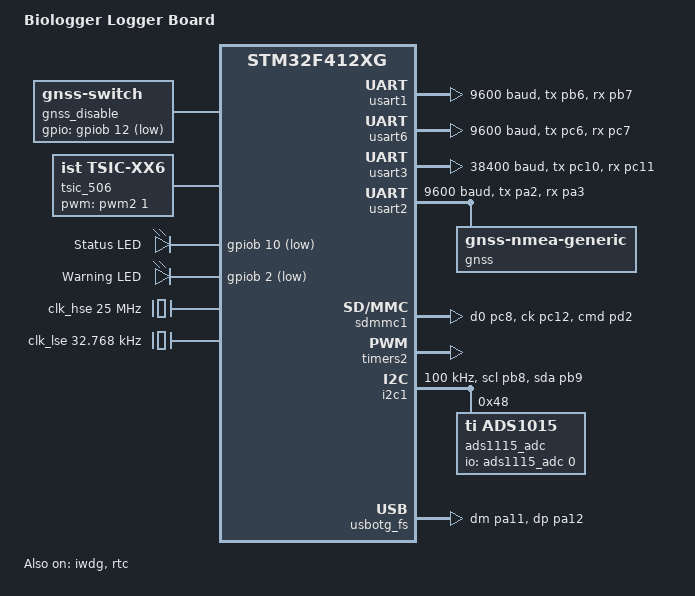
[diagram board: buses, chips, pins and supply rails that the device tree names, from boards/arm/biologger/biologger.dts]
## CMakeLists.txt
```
cmake_minimum_required(VERSION 3.20.0)

find_package(Zephyr REQUIRED HINTS $ENV{ZEPHYR_BASE})
project(floggy)

# Add your .c source files in this list.
target_sources(app PRIVATE src/main.c
                           src/observer.c
                           src/trutime.c
                           src/storage.c
                           src/experiment.c
                           # TODO(markovejnovic) Following 3 are hacks. The
                           # cmake spec should be in the ximpedance cmakelists
                           # but I can't get it to link.
                           drivers/sensor/ximpedance_amp/ximpedance_amp.c
                           drivers/sensor/ximpedance_amp/v2i_ximpedance22x_lut.c
                           drivers/sensor/ximpedance_amp/v2i_ximpedance10x_lut.c)

target_include_directories(app PRIVATE drivers)

add_subdirectory(drivers)
```

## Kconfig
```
mainmenu "Biologger Config"

source "Kconfig.zephyr"
rsource "drivers/Kconfig"
```

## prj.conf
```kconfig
CONFIG_ADC=y
CONFIG_ADC_ADS1X1X=y
CONFIG_CLOCK_CONTROL=y
CONFIG_DISK_ACCESS=y
CONFIG_DISK_DRIVER_SDMMC=y
CONFIG_DYNAMIC_THREAD=y
CONFIG_FAT_FILESYSTEM_ELM=y
CONFIG_FILE_SYSTEM=y
CONFIG_FPU=y
CONFIG_FS_FATFS_LFN=y
CONFIG_GNSS=y
CONFIG_GNSS_NMEA_GENERIC=y
CONFIG_GPIO=y
CONFIG_HEAP_MEM_POOL_SIZE=65536
CONFIG_HW_STACK_PROTECTION=y
CONFIG_I2C=y
CONFIG_LOG=y
CONFIG_MAIN_STACK_SIZE=16384
CONFIG_NEWLIB_LIBC=y
CONFIG_NEWLIB_LIBC_FLOAT_PRINTF=y
CONFIG_PRINTK=y
CONFIG_PWM=y
CONFIG_PWM_CAPTURE=y
CONFIG_RTC=y
CONFIG_SDMMC_STACK=y
CONFIG_SDMMC_STM32_CLOCK_CHECK=n
CONFIG_SENSOR=y
CONFIG_SERIAL=y
CONFIG_STACK_CANARIES=y
CONFIG_SYS_HEAP_INFO=y
CONFIG_SYS_HEAP_RUNTIME_STATS=y
CONFIG_TSIC_XX6=y
CONFIG_UART_INTERRUPT_DRIVEN=y

# Modules
CONFIG_XIMPEDANCE_AMP=y

# Debugging Flags
CONFIG_DEBUG=y
CONFIG_FILE_SYSTEM_SHELL=y
CONFIG_RTC_SHELL=y
CONFIG_SHELL=y
CONFIG_THREAD_ANALYZER=y
```

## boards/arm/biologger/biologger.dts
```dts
/*
 * Copyright (c) 2024 Marko Vejnovic
 *
 * SPDX-License-Identifier: Apache-2.0
 */

/dts-v1/;
#include <st/f4/stm32f412Xg.dtsi>
#include <st/f4/stm32f412r(e-g)tx-pinctrl.dtsi>

/ {
    model = "Biologger Logger Board";
    compatible = "markovejnovic,biologger";

	chosen {
		zephyr,console = &usart3;
		zephyr,shell-uart = &usart3;
		zephyr,sram = &sram0;
		zephyr,flash = &flash0;
	};

    gnss_disable: gnss_disable {
        compatible = "gnss-switch";
        gpios = <&gpiob 12 GPIO_ACTIVE_LOW>;
        status = "okay";
    };

    tsic_506: tsic_506 {
        status = "okay";
        compatible = "ist,tsic-xx6";
        pwms = <&pwm2 1 PWM_USEC(5) PWM_POLARITY_NORMAL>;
        data-bits = <11>;
        lower-temperature-limit = <(-10)>;
        higher-temperature-limit = <60>;
    };

    leds: leds {
        compatible = "gpio-leds";

        status_led: led_0 {
            gpios = <&gpiob 10 GPIO_ACTIVE_LOW>;
            label = "Status LED";
            status = "okay";
        };

        warning_led: led_1 {
            gpios = <&gpiob 2 GPIO_ACTIVE_LOW>;
            label = "Warning LED";
            status = "okay";
        };
    };

    ximpedance_amp: ximpedance_amp {
        compatible = "ximpedance_amp";
        status = "okay";
        adc = <&ads1115_adc>;
    };

    aliases {
        board-usart-1 = &usart1;
        board-usart-2 = &usart6;
        board-usart-3 = &usart3;
        trutime-clock = &rtc;
    };
};

&clk_hse {
	/delete-property/ hse-bypass;
	clock-frequency = <DT_FREQ_M(25)>; // External 25MHz clock.
	status = "okay";
};

&clk_lse {
    /delete-property/ lse-bypass;
    clock-frequency = <32768>; // External 32.768kHz clock.
    status = "okay";
};

&pll {
	div-m = <25>;
	mul-n = <384>;
    // TODO(markovejnovic): This could, in theory be bumped up to 4 to help
    // boost the APB2 clock domain, but causes the SDMMC clock to be unusable.
    // That cock should be moved to the PLL48CLK domain.
	div-p = <8>;
	div-q = <8>;
	clocks = <&clk_hse>;
	status = "okay";
};

&rcc {
	clocks = <&clk_hse>;
    // Under no circumustance can you change SYSCLK to be anything greater than
    // 25MHz. As it stands, the SDIO lines are very poorly designed and cannot
    // withstand this high frequency. Even 25MHz is too much and I don't know
    // how to fix it.
	clock-frequency = <DT_FREQ_M(25)>;
	ahb-prescaler = <1>;
	apb1-prescaler = <2>;
    // Note that the APB2 clock domain should NOT be very high. The board
    // layout is not good enough to support 50MHz on the SDIO lines.
	apb2-prescaler = <8>;
};

&iwdg {
    status = "okay";
};

&usart1 {
	pinctrl-0 = <&usart1_tx_pb6 &usart1_rx_pb7>;
	pinctrl-names = "default";
	current-speed = <9600>;
	status = "okay";
};

&usart6 {
	pinctrl-0 = <&usart6_tx_pc6 &usart6_rx_pc7>;
	pinctrl-names = "default";
	current-speed = <9600>;
	status = "okay";
};

&usart3 {
	pinctrl-0 = <&usart3_tx_pc10 &usart3_rx_pc11>;
	pinctrl-names = "default";
	current-speed = <38400>;
	status = "okay";
};

&usart2 {
	pinctrl-0 = <&usart2_tx_pa2 &usart2_rx_pa3>;
	pinctrl-names = "default";
	current-speed = <9600>;
	status = "okay";

    gnss: gnss-nmea-generic {
        compatible = "gnss-nmea-generic";
    };
};

&sdmmc1 {
    pinctrl-0 = <&sdio_d0_pc8 &sdio_ck_pc12 &sdio_cmd_pd2>;
    pinctrl-names = "default";
    status = "okay";
};

&rtc {
	clocks = <&rcc STM32_CLOCK_BUS_APB1 0x10000000>,
		 <&rcc STM32_SRC_LSE RTC_SEL(1)>;
	status = "okay";
};

&timers2 {
	status = "okay";

	pwm2: pwm {
		status = "okay";
		pinctrl-0 = <&tim2_ch1_pa0>;
		pinctrl-names = "default";
	};
};

&i2c1 {
	pinctrl-0 = <&i2c1_scl_pb8 &i2c1_sda_pb9>;
	pinctrl-names = "default";
	status = "okay";
	clock-frequency = <I2C_BITRATE_STANDARD>;

    ads1115_adc: ads1115_adc@48 {
        status = "okay";
        compatible = "ti,ads1015";
		reg = <0x48>;
		#io-channel-cells = <1>;
		#address-cells = <1>;
		#size-cells = <0>;

        io-channels = <&ads1115_adc 0>;
        io-channel-names = "A0";

		channel@0 {
			reg = <0>;
			zephyr,gain = "ADC_GAIN_1";
			zephyr,reference = "ADC_REF_INTERNAL";
			zephyr,acquisition-time = <ADC_ACQ_TIME_DEFAULT>;
            zephyr,resolution = <11>;
		};
    };
};

zephyr_udc0: &usbotg_fs {
	pinctrl-0 = <&usb_otg_fs_dm_pa11 &usb_otg_fs_dp_pa12>;
	pinctrl-names = "default";
	status = "okay";
};
```

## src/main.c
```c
/*
 * Copyright (c) 2024 Marko Vejnovic
 *
 * SPDX-License-Identifier: Apache-2.0
 *
 * @detail
 * Hello! This module is the main entrypoint of the biologger firmware. It is
 * in this file that you should most likely attempt to perform your work. If
 * you are only attempting to add new columns/rows, please have a look at
 * declare_columns and collect_data_10hz.
 */
#include <sys/_timespec.h>
#include <zephyr/kernel.h>
#include <zephyr/logging/log.h>
#include <zephyr/logging/log_ctrl.h>
#include <zephyr/drivers/uart.h>
#include <zephyr/shell/shell.h>
#include "experiment.h"
#include "observer.h"
#include <zephyr/device.h>
#include "trutime.h"
#include "storage.h"
#include <zephyr/drivers/sensor.h>
#include <zephyr/drivers/adc.h>
#include "sensor/ximpedance_amp/ximpedance_amp.h"
#include <zephyr/sys/printk.h>
#include <zephyr/sys/util.h>
#include <zephyr/drivers/sensor.h>

#define SAMPLING_PERIOD_MS 100

LOG_MODULE_REGISTER(main);

OBSERVER_DECL(main_observer);
TRUTIME_DECL(time_provider);

/******************************************************************************
 * Devices Used On The Board
 *****************************************************************************/
static const struct device* ximpedance_amp =
    DEVICE_DT_GET(DT_NODELABEL(ximpedance_amp));

/******************************************************************************
 * Static Variables Used In This Module
 *****************************************************************************/
static size_t collection_counter = 0;

/**
 * @brief Initialize drivers required for the operation of the application.
 */
static int init_drivers() {
    int err = 0; // 0 means no error :)

    if (!device_is_ready(ximpedance_amp)) {
        LOG_ERR("Failed to initialize the transimpedance driver.");
        err = -ENODEV;
    }

    return err;
}

/**
 * @brief Define all the columns that are collected.
 *
 * This function must only contain calls to experiment_add_column.
 */
static void declare_columns(struct experiment* e) {
    //                           Column Name              Units
    experiment_add_column(e,     "Current 22KX 1",        "mA");
    experiment_add_column(e,     "Current 22KX 2",        "mA");
    experiment_add_column(e,     "Current 10KX 1",        "mA");
    experiment_add_column(e,     "Current 10KX 2",        "mA");
}

/**
 * @brief Perform all data collection.
 *
 * This function must only contain calls to experiment_row_add_value.
 *
 * @warning There must be as many calls to experiment_row_add_value as there
 *          are to experiment_add_column in declare_columns.
 */
static int collect_data_10hz(struct experiment_row* r) {
    int err = 0; // 0 means no error :)
    
    if ((err = sensor_sample_fetch(ximpedance_amp)) != 0) {
        LOG_ERR("Failed to sample the results from the transimpedance "
                "amplifier (%d).", err);
    }

    static const enum ximpedance_amp_sensor_channel
    ximpedance_amp_channels[] = {
        XIMPEDANCE_CHAN_22KX_MILLIAMPS_1,
        XIMPEDANCE_CHAN_22KX_MILLIAMPS_2,
        XIMPEDANCE_CHAN_10KX_MILLIAMPS_1,
        XIMPEDANCE_CHAN_10KX_MILLIAMPS_2,
    };
    for (size_t i = 0; i < ARRAY_SIZE(ximpedance_amp_channels); i++) {
        struct sensor_value val;
        if ((err = sensor_channel_get(ximpedance_amp,
                                      (int)ximpedance_amp_channels[i],
                                      &val)) != 0) {
            LOG_ERR("Failed to fetch the sensor channel %d value (%d).",
                    ximpedance_amp_channels[i], err);
            err = MIN(err, 0);
        }

        const double value_milliamps = sensor_value_to_double(&val);

        experiment_row_add_value(r, value_milliamps);
    }

    // Printout every 10th row.
    if (collection_counter == 0) {
        const struct strv printout = experiment_row_format(r);
        printk("%s\n", printout.str);
        k_free(printout.str);
    }
    collection_counter = (collection_counter + 1) % 10;

    return err;
}

int main(void) {
    int err;

    // Initialize the logging module which is invaluable when debugging.
    LOG_INIT();
    LOG_INF("Initializing modules...");

    // Initialize the observer which will oversee all the operations and blink
    // the LED.
    observer_t observer = OBSERVER_INIT(main_observer);

    // Initialize the storage module which is responsible for storing
    // experiment data.
    storage_t storage = storage_init(observer);
    if (storage == NULL) {
        LOG_ERR("Could not initialize storage.");
        return -ENOMEM;
    }

    // Initialize the trutime module which provides with accurate time data.
    trutime_t time_provider = TRUTIME_INIT(time_provider, observer);

    // Initialize the hardware drivers.
    if ((err = init_drivers()) != 0) {
        LOG_ERR("Failed to initialize a driver (%d).", err);
        observer_flag_raise(observer, OBSERVER_FLAG_DRIVER_MIA);
    }

    // Wait until trutime is available. Sometimes this takes quite some time.
    do {
        LOG_INF("Waiting for trutime support.");
        k_msleep(1000);
    } while (!trutime_is_available(time_provider));
    k_msleep(1000); // TODO(markovejnovic): trutime_is_available leaks before
                    // it is actually available.

    // Initialize the experiment 
    struct experiment* experiment = experiment_init(storage, time_provider);
    if (experiment == NULL) { 
        LOG_ERR("Failed to initialize the experiment");
        return -1;
    }

    // Populate the experiment with all the required columns.
    declare_columns(experiment);

    while (1) {
        const uint64_t start = k_uptime_get();

        // We are creating a new time sample -- create a new row.
        struct experiment_row* row = experiment_row_new(
            trutime_millis_since(
                time_provider,
                experiment_start_time(experiment)
            )
        );
        if (row == NULL) {
            LOG_ERR("Failed to allocate sufficient memory for a new row.");
            continue;
        }

        // Collect the specified data into the experiment.
        (void)collect_data_10hz(row);

        // Push these values into the experiment.
        if ((err = experiment_push_row(experiment, row)) != 0) {
            LOG_ERR("Failed to push a row into the experiment (%d)", err);
        }

        const uint64_t stop = k_uptime_get();
        int64_t sleep_period;
        const bool sleep_will_underflow = __builtin_sub_overflow(
            (int64_t)stop,
            (int64_t)start,
            &sleep_period
        );
        if (sleep_will_underflow) {
            LOG_ERR("Critically slow application causing sampling lag.");
        } else {
            k_msleep(SAMPLING_PERIOD_MS - (sleep_period));
        }
    }
}
```

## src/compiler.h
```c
#ifndef COMPILER_H
#define COMPILER_H

#define likely(x)      (__builtin_expect(!!(x), 1))
#define unlikely(x)    (__builtin_expect(!!(x), 0))

#endif // COMPILER_H
```

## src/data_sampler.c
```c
#include "data_sampler.h"
#include "zephyr/arch/arch_interface.h"
#include "zephyr/kernel.h"
#include "zephyr/sys_clock.h"
#include <zephyr/kernel/thread.h>

struct dsampler {
    struct k_thread thread_data;
    const struct dsampler_config config;

    k_tid_t thread_id;
};

static void dsmain(void* p1, void* _, void* __)
{
    const dsampler_t ds = (dsampler_t)p1;
    const k_timeout_t sample_period = ds->config.sample_period;

    while (1)
    {
        k_sleep(sample_period);
    }
}

void dsampler_begin(dsampler_t d) {
    d->thread_id = k_thread_create(
        &d->thread_data,
        d->config.thread_stack, d->config.thread_stack_size,
        dsmain,
        d, NULL, NULL,
        d->config.scheduling_prio,
        0,
        K_NO_WAIT
    );
}
```

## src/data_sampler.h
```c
/*
 * Copyright (c) 2024 Marko Vejnovic
 *
 * SPDX-License-Identifier: Apache-2.0
 */

#include <zephyr/arch/arch_interface.h>
#include <zephyr/sys_clock.h>

typedef struct dsampler* dsampler_t;

struct dsampler_config {
    int scheduling_prio;

    k_thread_stack_t* thread_stack;
    size_t thread_stack_size;

    k_timeout_t sample_period;
};

dsampler_t dsampler_create(const struct dsampler_config config);

void dsampler_begin(dsampler_t);
```

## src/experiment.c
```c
#include "experiment.h"
#include "storage.h"
#include "trutime.h"
#include <stdlib.h>
#include <string.h>
#include <sys/errno.h>
#include <zephyr/logging/log.h>
#include <zephyr/sys/printk.h>
#include <zephyr/sys/slist.h>

#define EXPERIMENT_AUTO_FLUSH_THRESHOLD (10)

#define MAX_CELL_WIDTH (48)
#define MAX_COL_NAME_LEN (32)
#define MAX_COL_UNIT_LEN (MAX_CELL_WIDTH - (MAX_COL_NAME_LEN))

// Add +1 here because of the comma in the "%s," format string.
#define MAX_ROW_STR_LEN ((MAX_CELL_WIDTH + 1) * MAX_EXPERIMENT_COLS)

static char row_str_buf[MAX_ROW_STR_LEN];

LOG_MODULE_REGISTER(experiment);

static void free_caption(struct experiment_caption* capt) {
    k_free(capt->column_name);
    k_free(capt->unit);
    k_free(capt);
}

static void free_row(struct experiment_row* row) {
    k_free(row);
}

static void free_columns(struct experiment* exp) {
    // Only need to free the columns if they haven't been flushed. Otherwise,
    // they are eagerly freed during the flush.
    if (!exp->columns_flushed) {
        struct experiment_caption * entry, * next;
        SYS_SLIST_FOR_EACH_CONTAINER_SAFE(&exp->columns, entry, next, node) {
            free_caption(entry);
            sys_slist_remove(&exp->columns, NULL, &entry->node);
        }
    }
}

/**
 * @brief Format the row of an experiment into CSV form.
 */
static struct strv format_row(
    char* buf,
    struct experiment_row* exp
) {
    char* write_buf = buf;

    // Write the relative timestamp.
    write_buf += snprintk(write_buf, MAX_CELL_WIDTH, "%llu,",
                          exp->millis_since_start);

    // Write every single row value.
    for (size_t i = 0; i < exp->value_count; i++) {
        const double value = exp->values[i];
        write_buf += snprintk(write_buf, MAX_CELL_WIDTH, "%10.10f,", value);
    }

    // Null terminate the string, overriding the last comma.
    *(--write_buf) = 0;

    return (struct strv) {
        .len = write_buf - buf,
        .str = buf,
    };
}

/**
 * @brief Commit all the columns to the database.
 *
 * @todo(markovejnovic) This is some really dangerous code right here. There's
 * a ton of malloc that looks pretty scary.
 */
static void flush_columns(struct experiment* experiment) {
    int err;
// The buffer size is large enough to match the whole column name, the units,
// the 4 characters " [],". The format is "%s [%s],..." hence the 4 extra
// characters.
#define MAX_COL_STR_LEN (MAX_COL_NAME_LEN + MAX_COL_UNIT_LEN + 4)
#define MAX_TOTAL_COL_STR_LEN (MAX_COL_STR_LEN * MAX_EXPERIMENT_COLS)

    // Add +1 for '\0'.
    char* column_str = k_malloc(MAX_TOTAL_COL_STR_LEN + 1);
    if (column_str == NULL) {
        LOG_ERR("Failed to initialize enough memory for column_str");
        return;
    }
    char* work_ptr = column_str;

    // Add the timestamp column.
    work_ptr += snprintk(work_ptr, MAX_COL_STR_LEN, "Timestamp [ms],");

    // For each single column, convert it to a string and append it to the
    // "long" string representing the columns.
    struct experiment_caption * entry;
    SYS_SLIST_FOR_EACH_CONTAINER(&experiment->columns, entry, node) {
        work_ptr += snprintk(work_ptr, MAX_COL_STR_LEN, "%s [%s],",
                             entry->column_name, entry->unit);
    }

    // Move the pointer back by one to delete the last ','. Null-terminate the
    // string.
    *(--work_ptr) = 0;

    const size_t str_len = work_ptr - column_str;
    if ((err = storage_write_row(experiment->storage,
                                 (struct strv) { column_str, str_len })) != 0) {
        LOG_ERR("Failed to write to storage (%d)", err);
    }
    k_free(column_str);

#undef MAX_COL_STR_LEN
#undef MAX_TOTAL_COL_STR_LEN
}

struct experiment* experiment_init(storage_t storage, trutime_t trutime) {
    struct experiment* exp = k_malloc(sizeof(struct experiment));
    if (exp == NULL) {
        LOG_ERR("Failed to initialize enough memory in experiment_init.");
        return NULL;
    }

    sys_slist_init(&exp->columns);
    exp->column_count = 0;
    exp->columns_flushed = false;

    sys_slist_init(&exp->rows);
    exp->rows_count = 0;

    exp->storage = storage;
    exp->trutime = trutime;

    // We need to open the required file.
    storage_wait_until_available(storage);

    // Seed the start time of the experiment.
    int err;
    if ((err = trutime_get_utc(trutime, &exp->start_time_utc)) != 0) {
        LOG_ERR("Could not fetch the true time to init the experiment (%d).",
                err);
    }
    storage_transaction(storage, (struct tm*)&exp->start_time_utc);

    return exp;
}

void experiment_free(struct experiment * exp) {
    experiment_flush(exp);
    free_columns(exp);

    k_free(exp);
}

int experiment_add_column(
    struct experiment *experiment,
    const char * name,
    const char * units
) {
    struct experiment_caption* node
        = k_malloc(sizeof(struct experiment_caption));
    if (node == NULL) {
        LOG_ERR("Failed to initialize enough memory for struct "
                "experiment_caption");
        return -ENOMEM;
    }

    const size_t name_len = strlen(name);
    node->column_name = k_malloc(name_len + 1);
    if (node->column_name == NULL) {
        k_free(node);
        LOG_ERR("Failed to initialize enough memory for node->column_name");
        return -ENOMEM;
    }
    strncpy(node->column_name, name, name_len + 1);

    const size_t unit_len = strlen(units);
    node->unit = k_malloc(unit_len + 1);
    if (node->unit == NULL) {
        k_free(node->column_name);
        k_free(node);
        LOG_ERR("Failed to initialize enough memory for node->unit");
        return -ENOMEM;
    }
    strncpy(node->unit, units, unit_len + 1);

    sys_slist_append(&experiment->columns, &node->node);
    experiment->column_count++;

    return 0;
}

struct experiment_row* experiment_row_new(
    unsigned long long millis_since_start
) {
    // Allocate values for the row.
    struct experiment_row* row = k_malloc(sizeof(struct experiment_row));
    if (row == NULL) {
        LOG_ERR("Could not k_malloc enough memory for an experiment_row");
        return NULL;
    }
    row->value_count = 0;
    row->millis_since_start = millis_since_start;
    return row;
}

int experiment_push_row(
    struct experiment* experiment,
    struct experiment_row* row
) {
    if (!experiment->columns_flushed) {
        flush_columns(experiment);

        // It is safe to deallocate the whole list now.
        free_columns(experiment);

        experiment->columns_flushed = true;
    }

    sys_slist_append(&experiment->rows, &row->node);
    experiment->rows_count++;

    if (experiment->rows_count >= EXPERIMENT_AUTO_FLUSH_THRESHOLD) {
        return experiment_flush(experiment);
    }

    return 0;
}

int experiment_flush(struct experiment* experiment) {
    int err = 0;

    // Write every single experiment into the storage.
    struct experiment_row * entry, * next;
    SYS_SLIST_FOR_EACH_CONTAINER_SAFE(&experiment->rows, entry, next, node) {
        const struct strv row_str = format_row(row_str_buf, entry);

        // Attempt to write this to persistent storage.
        if ((err = storage_write_row(experiment->storage, row_str)) != 0) {
            LOG_ERR("Failed to push the experiment row.");
            err++;
        }

        // Regardless of whether that succeeded or failed, we still need to pop
        // this sample from the linked list otherwise we risk leaking memory.
        sys_slist_remove(&experiment->rows, NULL, &entry->node);
        experiment->rows_count--;

        free_row(entry);
    }

    return err;
}

int experiment_row_add_value(struct experiment_row *row, double value) {
    row->values[row->value_count++] = value;
    return 0;
}

const struct rtc_time* experiment_start_time(
    const struct experiment* experiment
) {
    return &experiment->start_time_utc;
}

struct strv experiment_row_format(struct experiment_row *row) {
    char* memory = k_malloc(MAX_ROW_STR_LEN);
    if unlikely(memory == NULL) {
        LOG_ERR("Failed to allocate memory. The system is now in an "
                "indeterminate state");
        return (struct strv){};
    }

    return format_row(memory, row);
}
```

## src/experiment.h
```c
/**
 * @note This module is NOT thread safe.
 * @see struct experiment
 *
 * Example:
 * @code{.c}
 * // Initialize the experiment.
 * struct experiment* experiment = experiment_init(storage);
 *
 * // Add columns to the experiment.
 * experiment_add_column(experiment, "Windspeed X", "m/s");
 * experiment_add_column(experiment, "Windspeed Y", "m/s");
 *
 * // Perform some measurements, for the sake of the example.
 * const double windspeed_x = windspeed_x_sample_get();
 * const double windspeed_y = windspeed_y_sample_get();
 *
 * // Create a new row.
 * struct experiment_row* row = experiment_row_new();
 * experiment_row_add_value(row, windspeed_x);
 * experiment_row_add_value(row, windspeed_y);
 * experiment_push_row(experiment, row);
 *
 * // ...
 * // When the application is destroyed, ensure you destroy the experiment to
 * // ensure it is fully flushed.
 * experiment_flush(experiment);
 * @endcode
 */
#ifndef EXPERIMENT_H
#define EXPERIMENT_H

#include "trutime.h"
#include <zephyr/sys/slist.h>

#define MAX_EXPERIMENT_COLS (128)

// Forward declaration required in experiment_init.
typedef struct storage* storage_t;

/**
 * @brief Represents an ongoing experiment.
 *
 * @details
 * The experiment is defined as a set of samples in monotonically increasing
 * time, offset from a start time. Data is a matrix of columns representing the
 * axes of the experiment and rows representing increasing values in time.
 *
 * This structure encodes this meaning in two linked lists. The columns
 * linked list is a set of axes the user defines via the experiment_add_column
 * function. The rows are represented as a linked list of rows. A new row is
 * added with experiment_push_row.
 */
struct experiment {
    struct rtc_time start_time_utc; /*!< The experiment start time. */

    sys_slist_t columns; /*!< The columns linked list. */
    size_t column_count; /*!< The total number of columns */
    bool columns_flushed; /*!< Whether the columns have been flushed. */

    sys_slist_t rows; /*!< The rows linked list. */
    size_t rows_count; /*!< The total number of rows. */

    storage_t storage; /*!< A reference to the application storage. */
    trutime_t trutime; /*!< A reference to the application clock provider. */
};

struct experiment_caption {
    char* column_name;
    char* unit;
    sys_snode_t node;
};

struct experiment_row {
    double values[MAX_EXPERIMENT_COLS];
    size_t value_count;
    sys_snode_t node;
    unsigned long long millis_since_start;
};

/**
 * Initialize and heap allocate a new experiment object.
 *
 * @param [in] storage A storage.h object to write data into.
 * @param [in] trutime The trutime.h object to use as the experiment collection
 *                     point.
 */
struct experiment* experiment_init(storage_t storage, trutime_t trutime);

void experiment_free(struct experiment*);

/**
 * Allocate and add a new column to an already open experiment.
 *
 * @param [in] experiment The experiment to add a column to.
 * @param [in] name The new column name.
 * @param [in] units The column units.
 *
 * @return 0 On a successful addition or -ENOMEM if the device is OOM.
 *
 * @warning It is illegal to add a column after the first row has been added.
 */
int experiment_add_column(struct experiment* experiment,
                          const char* name, const char* units);

/**
 * @brief Create a new heap-allocated experiment row.
 * @param [in] millis_since_start The total count of milliseconds since the
 *                                experiment was started.
 */
struct experiment_row* experiment_row_new(
    unsigned long long millis_since_start
);

/**
 * @brief Append a new value to the experiment.
 *
 * @param [in] row The experiment row to add values into.
 * @param [in] value The new value to push
 *
 * @note Experiment values must be pushed into the row in the same order that
 *       the columns were defined.
 */
int experiment_row_add_value(struct experiment_row* row, double value);

/**
 * @brief Format a row to a new heap-allocated string. The string is guaranteed
 *        to be null-terminated.
 * @warning This new string MUST be k_freed.
 *
 * @param [in] row The experiment row to format.
 */
struct strv experiment_row_format(struct experiment_row* row);

/**
 * @brief Append a new row to an already-open experiment.
 *
 * @param [in] experiment The experiment to add a new row to.
 * @param [in] row A pointer to a heap-allocated row. This row must already be
 *                 initialized. This function will take ownership of the row.
 *
 * @warning data MUST be an array of floats containing as many elements as
 *          columns have been defined. This function will not perform said
 *          validation.
 *
 * @return 0 on success, -ENOMEM if the device is out of memory.
 */
int experiment_push_row(struct experiment* experiment,
                        struct experiment_row* data);

/**
 * @brief Flush the experiment down into permanent storage. The object is still
 *        re-usable after this function is called.
 *
 * @param [in] The exeperiment to flush.
 */
int experiment_flush(struct experiment* experiment);

/**
 * @brief Retrieve the start time of the experiment.
 */
const struct rtc_time* experiment_start_time(
    const struct experiment* experiment
);

#endif /* EXPERIMENT_H */
```

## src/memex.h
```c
/**
 * @brief Utility module for memory-related operations.
 */
#ifndef MEMEX_H
#define MEMEX_H

#include <string.h>

/**
 * @brief Compare the elements in an array with a parameter, checking if
 *        they're the same.
 *
 * @param [in] xs A pointer to an array of elements.
 * @param [in] xs_len The length of the array of elements xs.
 * @param [in] x The element to compare each element of xs with.
 *
 * @return A boolean of whether every element of xs is equal to x.
 */
#define CMP_ALL(xs, xs_len, x) \
    ((xs)[0] == (x) && \
        memcmp((xs), (xs) + 1, ((xs_len) - 1) * sizeof((xs)[0])) == 0)

#endif /* MEMEX_H */
```

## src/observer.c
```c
#include "observer.h"
#include "thread_specs.h"
#include <stdbool.h>
#include <zephyr/kernel.h>
#include <zephyr/device.h>
#include <zephyr/drivers/gpio.h>
#include <zephyr/logging/log.h>

LOG_MODULE_REGISTER(observer, CONFIG_LOG_DEFAULT_LEVEL);

#define STATUS_LED DT_NODELABEL(status_led)

static const struct gpio_dt_spec status_led =
    GPIO_DT_SPEC_GET_OR(STATUS_LED, gpios, {0});

static void observer_flag(observer_t o, enum observer_flag f, bool s) {
    o->flag_states[f] = s;

    o->app_state =
        o->flag_states[OBSERVER_FLAG_NO_DISK]
        || o->flag_states[OBSERVER_FLAG_DRIVER_MIA]
            ? APP_STATE_DEVICE_FAULT :
        o->flag_states[OBSERVER_FLAG_NO_GPS_CLOCK]
            ? APP_STATE_WAITING_FOR_TIMESYNC :
        APP_STATE_SAMPLING;
}

static void blink_status_runnable(void* p0, void* p1, void* p2) {
    observer_t observer = (observer_t)p0;

    // Repeatedly we will blink the LED as part of the LED thread.
    while (true) {
        uint16_t blink_period_ms = 1000;
        uint16_t high_side_time_ms = 100;

        switch (observer->app_state) {
            case APP_STATE_SAMPLING:
                blink_period_ms = 500;
                high_side_time_ms = 200;
                break;

            case APP_STATE_WAITING_FOR_TIMESYNC:
                blink_period_ms = 3000;
                high_side_time_ms = 500;
                break;

            case APP_STATE_DEVICE_FAULT:
                blink_period_ms = 1000;
                high_side_time_ms = 1000;
                break;
        }

        const uint16_t low_side_time_ms = blink_period_ms - high_side_time_ms;

        if (!gpio_pin_get_dt(&status_led)) {
            gpio_pin_set_dt(&status_led, 1);
            k_msleep(high_side_time_ms);
        } else {
            gpio_pin_set_dt(&status_led, 0);
            k_msleep(low_side_time_ms);
        }
    }
}

K_THREAD_STACK_DEFINE(work_thread_stack, THREAD_BLINK_STATUS0_STACK_SIZE);
static struct k_thread work_thread_data;

observer_t observer_start(observer_t observer) {
    observer->app_state = APP_STATE_DEVICE_FAULT;

    for (int i = 0; i < OBSERVER_FLAG_COUNT; i++) {
        observer_flag(observer, i, false);
    }

    if (!gpio_is_ready_dt(&status_led)) {
        LOG_ERR("Status LED @ %s:%d is not ready. Failing to initialize.",
                status_led.port->name, status_led.pin);
        return NULL;
    }

    if (gpio_pin_configure_dt(&status_led, GPIO_OUTPUT_ACTIVE) < 0) {
        LOG_ERR("Status LED @ %s:%d failed to configure GPIO active.",
                status_led.port->name, status_led.pin);
        return NULL;
    }

    k_thread_create(
        &work_thread_data,
        work_thread_stack,
        K_THREAD_STACK_SIZEOF(work_thread_stack),
        blink_status_runnable, observer, NULL, NULL,
        THREAD_BLINK_STATUS0_PRIORITY, 0, K_NO_WAIT
    );

    return observer;
}

void observer_flag_raise(observer_t o, enum observer_flag f) {
    observer_flag(o, f, true);
}

void observer_flag_lower(observer_t o, enum observer_flag f) {
    observer_flag(o, f, false);
}
```

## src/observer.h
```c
/**
 * @brief Tracks the state of the application and drives the LEDs indicating
 *        the current state of the application.
 */
#ifndef OBSERVER_H
#define OBSERVER_H

#include <zephyr/kernel.h>

/**
 * @brief The state the application is in.
 *
 * The enumeration values defined here dictate what state the application is
 * currently in and directly correspond to the LED behavior.
 */
enum app_state {
    /*!< The application has faulted due to an unspecified reason.
     * The LED will be enabled.
     */
    APP_STATE_DEVICE_FAULT,
    /*!< The application is waiting for a time signal to be acquired.
     * The LED will blink slowly.
     */
    APP_STATE_WAITING_FOR_TIMESYNC,
    /*!< The application is sampling devices.
     * The LED will blink every 500ms.
     */
    APP_STATE_SAMPLING,
};

/**
 * @brief Events that may be raised by the application.
 */
enum observer_flag {
    /*!< The application has determined that no storage media is currently
     * available.
     */
    OBSERVER_FLAG_NO_DISK = 1,

    /*!< The application has determined that no valid GPS clock is currently
     * available.
     */
    OBSERVER_FLAG_NO_GPS_CLOCK = 2,

    /*!< The application has a driver that did not initialize correctly.
     *
     */
    OBSERVER_FLAG_DRIVER_MIA = 3,

    OBSERVER_FLAG_COUNT,
};

typedef struct {
    enum app_state app_state;
    bool flag_states[OBSERVER_FLAG_COUNT];
} observer_data;

typedef observer_data* observer_t;

observer_t observer_start(observer_t);

#define OBSERVER_INIT(name) \
    observer_start(&observer_##name##_data)

#define OBSERVER_DECL(name) \
    observer_data observer_##name##_data;

/**
 * @brief Notify the observer that an event has occurred.
 *
 * @param [in] observer The observer object.
 * @param [in] flag The relevant event flag.
 */
void observer_flag_raise(observer_t, enum observer_flag flag);

/**
 * @brief Notify the observer that an event has dropped.
 *
 * @param [in] observer The observer object.
 * @param [in] flag The relevant event flag.
 */
void observer_flag_lower(observer_t, enum observer_flag flag);

/**
 * @brief Wait until all the flags are are of the specified state.
 *
 * @param [in] observer The observer object.
 * @param [in] flags The flags to all wait for.
 * @param [in] state The state you wish the flags to be in.
 * @param [in] timeout The maximum timeout PER flag.
 *
 * @return int zero if all flags were given.
 */
int observer_wait_for_all(observer_t observer, enum observer_flag* flags,
                          bool state, k_timeout_t timeout);

#endif /* OBSERVER_H */
```

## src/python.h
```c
#ifndef PYTHON_H
#define PYTHON_H


#endif // PYTHON_H
```

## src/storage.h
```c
/**
 * @brief The storage module is responsible for managing the state of the SD
 *        card as well as USB storage.
 *
 * @details
 * This module manages the SD card by spawning a new thread in which it will
 * periodically poll the SD card for its state. The state of the SD card
 * informs the module as to which state it itself should be in.
 *
 * Due to limitations in Zephyr (and my own lack of time/willpower), the SD
 * card cannot be hotplugged.
 *
 * This module is however designed to survive cases of data loss due to
 * hotplugging.
 */
#ifndef STORAGE_H
#define STORAGE_H

#include <time.h>
#include <zephyr/sys/slist.h>
#include "observer.h"
#include "str.h"

typedef struct experiment* experiment_t;
typedef struct experiment_row* experiment_row_t;

typedef struct storage* storage_t;

/**
 * @brief Initialize the storage module.
 * @param [in] observer The observer module.
 */
storage_t storage_init(observer_t observer);

/**
 * @brief Neatly close the storage module.
 */
int storage_close(storage_t);

/**
 * @brief Create a new transaction into permanent storage. Transactions are
 *        units of operating between which a flush to disk will occur.
 *
 * @param [in] storage The storage module.
 * @param [in] start_time The time when the experiment was started.
 * @return An error code if any.
 *
 * @warning storage_wait_until_available must pass before this can be called.
 */
int storage_transaction(storage_t storage, const struct tm* start_time);

/**
 * @brief Write a row to the currently open file.
 * @param [in] storage The storage module.
 * @param [in] row The row to write.
 * @note You should not have a trailing newline.
 * @return An error code if any.
 *
 * @warning storage_wait_until_available must pass before this can be called.
 */
int storage_write_row(storage_t storage, const struct strv row);

/**
 * @brief Close the currently open file.
 * @param [in] storage The storage module.
 *
 * @note You do not normally need to call this as storage_close will call it
 *       for you.
 *
 * @warning storage_wait_until_available must pass before this can be called.
 */
int storage_close_file(storage_t storage);

/**
 * @brief Sleep the current thread of execution until storage is available.
 * @param [in] storage The storage module.
 */
void storage_wait_until_available(storage_t storage);

/**
 * @brief Flush any cached state to disk.
 * @param [in] storage The storage module.
 */
int storage_flush(storage_t storage);

#endif // STORAGE_H
```

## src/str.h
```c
/**
 * @brief Module for string utilities.
 */
#ifndef STR_H
#define STR_H

#include <stdlib.h>

/**
 * @brief Helper function equivalent to C++'s std::string_view.
 * @detail This structure contains a pointer into a C string and a length.
 * @warning This structure's length field is never to include a trailing zero
 *          if present.
 */
struct strv {
    /*!< A pointer to the underlying string */
    char* str;
    /*!< The length of the string, excluding a \0 if present. */
    size_t len;
};

#endif // STR_H
```
